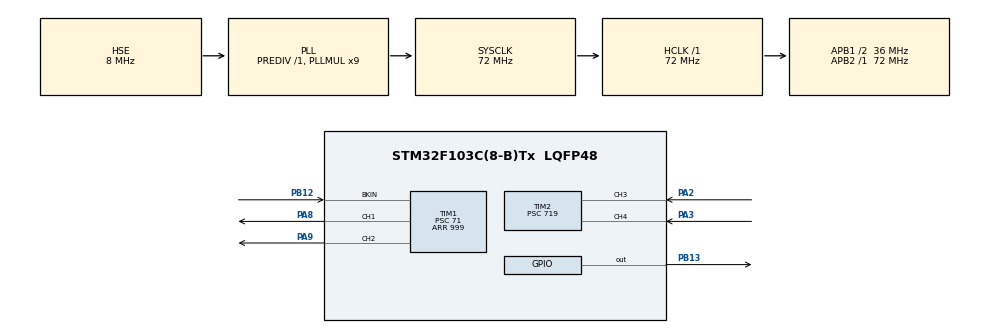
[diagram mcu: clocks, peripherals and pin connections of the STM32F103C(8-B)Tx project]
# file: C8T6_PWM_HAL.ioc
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Mcu.Family=STM32F1
Mcu.Name=STM32F103C(8-B)Tx
Mcu.Package=LQFP48
NVIC.PriorityGroup=NVIC_PRIORITYGROUP_4
NVIC.TIM2_IRQn=true\:0\:0\:false\:false\:true\:true\:true
PA13.Mode=Serial_Wire
PA13.Signal=SYS_JTMS-SWDIO
PA14.Mode=Serial_Wire
PA14.Signal=SYS_JTCK-SWCLK
PA2.GPIO_PuPd=GPIO_PULLDOWN
PA2.Signal=S_TIM2_CH3
PA3.GPIO_PuPd=GPIO_PULLDOWN
PA3.Signal=S_TIM2_CH4
PA8.GPIO_Speed=GPIO_SPEED_FREQ_HIGH
PA8.Signal=S_TIM1_CH1
PA9.GPIO_Speed=GPIO_SPEED_FREQ_HIGH
PA9.Signal=S_TIM1_CH2
PB12.GPIO_PuPd=GPIO_PULLDOWN
PB12.Mode=Activate-Break-Input
PB12.Signal=TIM1_BKIN
PB13.GPIO_PuPd=GPIO_PULLUP
PB13.GPIO_Speed=GPIO_SPEED_FREQ_HIGH
PB13.PinState=GPIO_PIN_SET
PB13.Signal=GPIO_Output
PD0-OSC_IN.Mode=HSE-External-Oscillator
PD0-OSC_IN.Signal=RCC_OSC_IN
PD1-OSC_OUT.Mode=HSE-External-Oscillator
PD1-OSC_OUT.Signal=RCC_OSC_OUT
ProjectManager.HeapSize=0x200
ProjectManager.StackSize=0x400
ProjectManager.TargetToolchain=MDK-ARM V5.27
RCC.AHBFreq_Value=72000000
RCC.APB1CLKDivider=RCC_HCLK_DIV2
RCC.APB1Freq_Value=36000000
RCC.APB1TimFreq_Value=72000000
RCC.APB2Freq_Value=72000000
RCC.APB2TimFreq_Value=72000000
RCC.HCLKFreq_Value=72000000
RCC.PLLMUL=RCC_PLL_MUL9
RCC.PLLSourceVirtual=RCC_PLLSOURCE_HSE
RCC.SYSCLKFreq_VALUE=72000000
RCC.SYSCLKSource=RCC_SYSCLKSOURCE_PLLCLK
RCC.USBFreq_Value=72000000
SH.S_TIM1_CH1.0=TIM1_CH1,PWM Generation1 CH1
SH.S_TIM1_CH2.0=TIM1_CH2,PWM Generation2 CH2
SH.S_TIM2_CH3.0=TIM2_CH3,Input_Capture3_from_TI3
SH.S_TIM2_CH4.0=TIM2_CH4,Input_Capture4_from_TI4
TIM1.Channel-PWM\ Generation1\ CH1=TIM_CHANNEL_1
TIM1.Channel-PWM\ Generation2\ CH2=TIM_CHANNEL_2
TIM1.Period=999
TIM1.Prescaler=71
TIM2.Channel-Input_Capture3_from_TI3=TIM_CHANNEL_3
TIM2.Channel-Input_Capture4_from_TI4=TIM_CHANNEL_4
TIM2.Prescaler=719
VP_TIM1_VS_ClockSourceINT.Mode=Internal
VP_TIM2_VS_ClockSourceINT.Mode=Internal
board=custom

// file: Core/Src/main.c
/* USER CODE BEGIN Header */
/**
  ******************************************************************************
  * @file           : main.c
  * @brief          : Main program body
  ******************************************************************************
  * @attention
  *
  * <h2><center>&copy; Copyright (c) 2020 STMicroelectronics.
  * All rights reserved.</center></h2>
  *
  * This software component is licensed by ST under BSD 3-Clause license,
  * the "License"; You may not use this file except in compliance with the
  * License. You may obtain a copy of the License at:
  *                        opensource.org/licenses/BSD-3-Clause
  *
  ******************************************************************************
  */
/* USER CODE END Header */
#include "main.h"
#include "tim.h"
#include "gpio.h"

/* USER CODE BEGIN Includes */
#include "OLED_I2C.h"
#include "bsp_i2c_gpio.h"
/* USER CODE END Includes */

/* USER CODE BEGIN PTD */
volatile uint32_t COUNTCL[2],COUNTCR[2];
volatile uint8_t FLAGCL,FINISHCL,FLAGCR,FINISHCR,COUTOUT;
extern uint8_t TIMCHFLAG;
/* USER CODE END PTD */

void SystemClock_Config(void);

int main(void)
{
  /* USER CODE BEGIN 1 */
   uint8_t PWMSTART=0,STOPCL=0,STOPCR=0;
   uint16_t PWML=0,PWMR=0;
    volatile  double PREIODCL=0,PREIODCR=0;
   char DIS[20]={0},DIS1[20]={0};
  /* USER CODE END 1 */

  /* MCU Configuration--------------------------------------------------------*/

  /* Reset of all peripherals, Initializes the Flash interface and the Systick. */
  HAL_Init();

  /* Configure the system clock */
  SystemClock_Config();

  /* USER CODE BEGIN SysInit */
   i2c_CfgGpio();
   OLED_Init();
  /* USER CODE END SysInit */

  /* Initialize all configured peripherals */
  MX_GPIO_Init();
  MX_TIM1_Init();
  MX_TIM2_Init();
  /* USER CODE BEGIN 2 */
   OLED_ON();
   OLED_CLS();
  /* USER CODE END 2 */

  /* Infinite loop */
  while (1)
  {

    /* USER CODE BEGIN 3 */
     if(HAL_GPIO_ReadPin(GPIOB, GPIO_PIN_12)==GPIO_PIN_SET){
        PWMSTART=1;
        PWML=0;
        PWMR=0;
     }
     else if(HAL_GPIO_ReadPin(GPIOB, GPIO_PIN_12)==GPIO_PIN_RESET&&PWMSTART==1){
        PWML=600;
        PWMR=600;
         HAL_TIM_PWM_Start(&htim1,TIM_CHANNEL_1);
         HAL_TIM_PWM_Start(&htim1,TIM_CHANNEL_2);
         __HAL_TIM_SET_COMPARE(&htim1,TIM_CHANNEL_1,PWML);
         __HAL_TIM_SET_COMPARE(&htim1,TIM_CHANNEL_2,PWMR);
        PWMSTART=0;
     }
     if(FINISHCL==0){
        STOPCL++;
        if(STOPCL>=3){
           STOPCL=3;
           PREIODCL=0;
        }
     }
     else if(FINISHCL==1){
         PREIODCL=(double)(COUNTCL[1]-COUNTCL[0])/100.0;//ms
         FINISHCL=0;
         STOPCL=0;
      }
     if(FINISHCR==0){
        STOPCR++;
        if(STOPCR>=3){
           STOPCR=3;
           PREIODCR=0;
        }
     }
     else if(FINISHCR==1){
         FINISHCR=0;
         PREIODCR=(double)(COUNTCR[1]-COUNTCR[0])/100.0;
         STOPCR=0;
      }
      sprintf(DIS1,"L:%.3d-----%.3d:R",PWML,PWMR);
      if(PREIODCL<100&&PREIODCR<100){
         sprintf(DIS,"L:%5.2f %5.2f:R",PREIODCL,PREIODCR);
      }
         OLED_ShowStr(0,0,DIS1,2);
//      OLED_CLS_H(2);
         OLED_ShowStr(0,2,DIS,2);
      HAL_Delay(200);
  }
  /* USER CODE END 3 */
}

void SystemClock_Config(void)
{
  RCC_OscInitTypeDef RCC_OscInitStruct = {0};
  RCC_ClkInitTypeDef RCC_ClkInitStruct = {0};

  /** Initializes the RCC Oscillators according to the specified parameters
  * in the RCC_OscInitTypeDef structure.
  */
  RCC_OscInitStruct.OscillatorType = RCC_OSCILLATORTYPE_HSE;
  RCC_OscInitStruct.HSEState = RCC_HSE_ON;
  RCC_OscInitStruct.HSEPredivValue = RCC_HSE_PREDIV_DIV1;
  RCC_OscInitStruct.HSIState = RCC_HSI_ON;
  RCC_OscInitStruct.PLL.PLLState = RCC_PLL_ON;
  RCC_OscInitStruct.PLL.PLLSource = RCC_PLLSOURCE_HSE;
  RCC_OscInitStruct.PLL.PLLMUL = RCC_PLL_MUL9;
  if (HAL_RCC_OscConfig(&RCC_OscInitStruct) != HAL_OK)
  {
    Error_Handler();
  }
  /** Initializes the CPU, AHB and APB buses clocks
  */
  RCC_ClkInitStruct.ClockType = RCC_CLOCKTYPE_HCLK|RCC_CLOCKTYPE_SYSCLK
                              |RCC_CLOCKTYPE_PCLK1|RCC_CLOCKTYPE_PCLK2;
  RCC_ClkInitStruct.SYSCLKSource = RCC_SYSCLKSOURCE_PLLCLK;
  RCC_ClkInitStruct.AHBCLKDivider = RCC_SYSCLK_DIV1;
  RCC_ClkInitStruct.APB1CLKDivider = RCC_HCLK_DIV2;
  RCC_ClkInitStruct.APB2CLKDivider = RCC_HCLK_DIV1;

  if (HAL_RCC_ClockConfig(&RCC_ClkInitStruct, FLASH_LATENCY_2) != HAL_OK)
  {
    Error_Handler();
  }
}

/* USER CODE BEGIN 4 */
void HAL_TIM_PeriodElapsedCallback(TIM_HandleTypeDef *htim){
   COUTOUT++;
}
void HAL_TIM_IC_CaptureCallback(TIM_HandleTypeDef *htim){
   if(TIMCHFLAG==3&&FINISHCL==0){
      TIMCHFLAG=0;
      if(FLAGCL==1){
         COUNTCL[1]=HAL_TIM_ReadCapturedValue(&htim2,TIM_CHANNEL_3)+COUTOUT*0XFFFF;
         FLAGCL=0;
         FINISHCL=1;
      }
      else if(FLAGCL==0){
         COUNTCL[0]=HAL_TIM_ReadCapturedValue(&htim2,TIM_CHANNEL_3)+COUTOUT*0XFFFF;
         FLAGCL++;
      }
   }
   if(TIMCHFLAG==4&&FINISHCR==0){
      TIMCHFLAG=0;
      if(FLAGCR==0){
         COUNTCR[0]=HAL_TIM_ReadCapturedValue(&htim2,TIM_CHANNEL_4)+COUTOUT*0XFFFF;
         FLAGCR++;
      }
      else{
         COUNTCR[1]=HAL_TIM_ReadCapturedValue(&htim2,TIM_CHANNEL_4)+COUTOUT*0XFFFF;
         FLAGCR=0;
         FINISHCR=1;
      }
   }
   if(COUTOUT>=100){
      __HAL_TIM_SET_COUNTER(&htim2,0);
      COUTOUT=0;
   }
}
/* USER CODE END 4 */

void Error_Handler(void)
{
}

/************************ (C) COPYRIGHT STMicroelectronics *****END OF FILE****/
